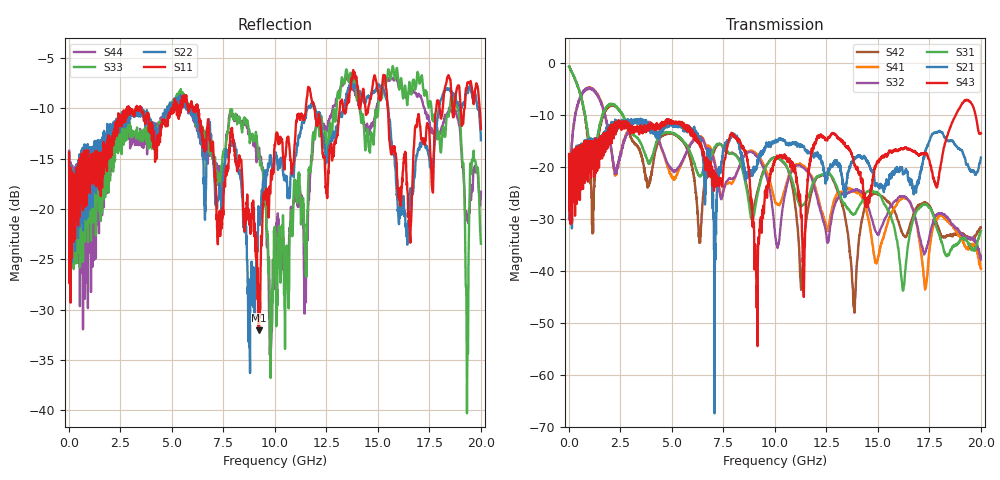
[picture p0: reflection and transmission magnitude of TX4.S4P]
# Hz S  RI  R 50
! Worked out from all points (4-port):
!   1601 points, 10 MHz to 20 GHz, reference 50 ohm
!   strongest paths, dB at 10 MHz, 5.008 GHz, 10.01 GHz, 15 GHz, 20 GHz:
!     S43: -17.5, -11.5, -18.8, -18.9, -13.5
!     S21: -17.6, -12.1, -15.3, -23.9, -18.2
!     S31: -0.7, -13.5, -18.3, -25.1, -32.3
!     S32: -30.1, -20.7, -32.8, -33.0, -37.8
!     S41: -29.8, -22.0, -26.6, -37.6, -39.6
!     S42: -0.7, -13.6, -18.2, -25.3, -31.7
!   lowest |S11| = -32.1 dB at 9.23 GHz (marker M1), VSWR 1.05, Z = 50.5 - j2.46 ohm
!   |S11| at or under -10 dB: start of sweep to 2.808 GHz; 6.239 GHz to 11.5 GHz (5.261 GHz wide, 59.3 % of centre); 15.48 GHz to 17.83 GHz (2.351 GHz wide, 14.1 % of centre)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
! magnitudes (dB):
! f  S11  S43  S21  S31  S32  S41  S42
! 10 MHz  -14.4  -17.5  -17.6  -0.7  -30.1  -29.8  -0.7
! 1.159 GHz  -17.5  -20.3  -20.1  -19.9  -5.0  -4.9  -27.1
! 7.081 GHz  -16.9  -22.7  -42.7  -16.1  -19.5  -19.0  -16.7
! 7.969 GHz  -13.4  -13.7  -13.9  -17.6  -22.2  -22.8  -17.4
! 9.23 GHz  -32.1  -33.9  -17.8  -24.0  -18.5  -18.1  -23.7
! 13.84 GHz  -6.8  -19.2  -18.4  -29.1  -24.4  -24.6  -47.1
! 20 GHz  -12.0  -13.5  -18.2  -32.3  -37.8  -39.6  -31.7
